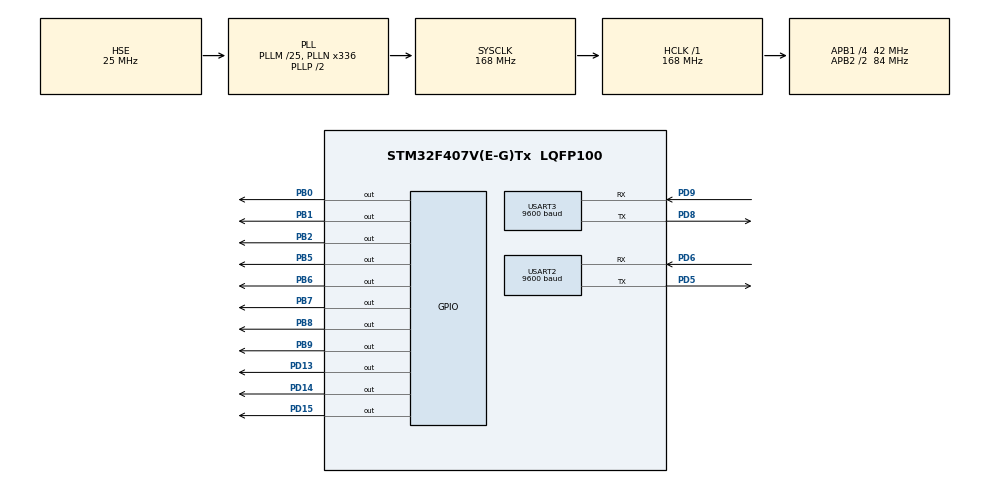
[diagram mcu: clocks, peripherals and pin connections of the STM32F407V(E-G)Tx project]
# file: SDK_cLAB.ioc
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Mcu.Family=STM32F4
NVIC.USART3_IRQn=true\:0\:0\:false\:false\:true\:true\:true
RCC.PLLSourceVirtual=RCC_PLLSOURCE_HSE
PH0-OSC_IN.Signal=RCC_OSC_IN
RCC.CortexFreq_Value=168000000
PD15.GPIO_Speed=GPIO_SPEED_FREQ_HIGH
VP_IWDG_VS_IWDG.Mode=IWDG_Activate
PD9.Signal=USART3_RX
PD5.Signal=USART2_TX
RCC.APB1CLKDivider=RCC_HCLK_DIV4
PD6.Mode=Asynchronous
PD9.Mode=Asynchronous
NVIC.USART2_IRQn=true\:0\:0\:false\:false\:true\:true\:true
USART2.BaudRate=9600
RCC.SYSCLKSource=RCC_SYSCLKSOURCE_PLLCLK
ProjectManager.StackSize=0x400
PD13.Signal=GPIO_Output
PA13.Signal=SYS_JTMS-SWDIO
PD14.GPIO_Speed=GPIO_SPEED_FREQ_HIGH
USART3.BaudRate=9600
ProjectManager.TargetToolchain=STM32CubeIDE
RCC.HCLKFreq_Value=168000000
RCC.APB2TimFreq_Value=168000000
PB6.Signal=GPIO_Output
PD8.Signal=USART3_TX
RCC.LSE_VALUE=32768
PD8.Mode=Asynchronous
RCC.AHBFreq_Value=168000000
PH0-OSC_IN.Mode=HSE-External-Oscillator
PD5.Mode=Asynchronous
RCC.HSE_VALUE=25000000
PD14.PinState=GPIO_PIN_RESET
PB2.Signal=GPIO_Output
PB3.Mode=JTAG_5_pins
board=custom
PD13.GPIO_Speed=GPIO_SPEED_FREQ_HIGH
RCC.VCOOutputFreq_Value=336000000
PA15.Mode=JTAG_5_pins
RCC.APB2Freq_Value=84000000
PB4.Mode=JTAG_5_pins
PA14.Mode=JTAG_5_pins
PH1-OSC_OUT.Signal=RCC_OSC_OUT
PB7.Signal=GPIO_Output
PA13.Mode=JTAG_5_pins
Mcu.Name=STM32F407V(E-G)Tx
PD14.Signal=GPIO_Output
PH1-OSC_OUT.Mode=HSE-External-Oscillator
RCC.48MHZClocksFreq_Value=84000000
PB3.Signal=SYS_JTDO-SWO
RCC.SYSCLKFreq_VALUE=168000000
Mcu.Package=LQFP100
PB5.Signal=GPIO_Output
PB9.Signal=GPIO_Output
PB1.Signal=GPIO_Output
USART2.VirtualMode=VM_ASYNC
USART3.VirtualMode=VM_ASYNC
PA14.Signal=SYS_JTCK-SWCLK
PA15.Signal=SYS_JTDI
ProjectManager.HeapSize=0x200
RCC.HSI_VALUE=16000000
NVIC.PriorityGroup=NVIC_PRIORITYGROUP_4
RCC.APB2CLKDivider=RCC_HCLK_DIV2
RCC.PLLM=25
RCC.PLLN=336
IWDG.Prescaler=IWDG_PRESCALER_64
RCC.APB1TimFreq_Value=84000000
PB8.Signal=GPIO_Output
PD13.PinState=GPIO_PIN_RESET
PD6.Signal=USART2_RX
RCC.APB1Freq_Value=42000000
PB0.Signal=GPIO_Output
PD15.Signal=GPIO_Output
PB4.Signal=SYS_JTRST

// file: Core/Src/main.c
/* USER CODE BEGIN Header */
/**
  ******************************************************************************
  * @file           : main.c
  * @brief          : Main program body
  ******************************************************************************
  * @attention
  *
  * <h2><center>&copy; Copyright (c) 2020 STMicroelectronics.
  * All rights reserved.</center></h2>
  *
  * This software component is licensed by ST under BSD 3-Clause license,
  * the "License"; You may not use this file except in compliance with the
  * License. You may obtain a copy of the License at:
  *                        opensource.org/licenses/BSD-3-Clause
  *
  ******************************************************************************
  */
/* USER CODE END Header */
#include "main.h"
#include "iwdg.h"
#include "usart.h"
#include "gpio.h"

/* USER CODE BEGIN Includes */
#include "trace.h"
/* USER CODE END Includes */

/* USER CODE BEGIN PV */
uint8_t x = 0; // X UART2
uint8_t y = 0; // Y UART2
uint8_t transmitBuffer2[2]; // for X, Y UART2
uint8_t receiveBuffer3[2]; // for X, Y UART3
uint8_t transmitBuffer3[1];	// for function result UART3
uint8_t receiveBuffer2[1]; // for function result UART2
uint8_t readed_value_x;	// X UART3
uint8_t readed_value_y; // Y UART3
uint8_t result;	// function result UART3
uint8_t readed_result;	// function result UART2
/* USER CODE END PV */

void SystemClock_Config(void);

int main(void)
{

  /* MCU Configuration--------------------------------------------------------*/

  /* Reset of all peripherals, Initializes the Flash interface and the Systick. */
  HAL_Init();

  /* Configure the system clock */
  SystemClock_Config();

  /* Initialize all configured peripherals */
  MX_GPIO_Init();
  MX_IWDG_Init();
  MX_USART2_UART_Init();
  MX_USART3_UART_Init();
  /* USER CODE BEGIN 2 */

  /* Do not remove this code below */
  MX_TRACE_Init();
  SDK_TRACE_Start();
  /* Do not remove this code from above */

  uint8_t value_x = 4; // set X
  uint8_t value_y = 8; // set Y
  // buffer for UART2 transmit
  transmitBuffer2[0] = value_x;
  transmitBuffer2[1] = value_y;
  // buffer for UART3 receive
  receiveBuffer3[0] = 0;
  receiveBuffer3[1] = 0;
  // buffer for UART2 receive
  receiveBuffer2[0] = 0;

  SDK_TRACE_Timestamp(P0, 1);

  SDK_TRACE_Print("Value X: %d Value Y: %d", value_x, value_y);
  // Interrupt activations
  HAL_UART_Receive_IT(&huart3, receiveBuffer3, 2);
  HAL_UART_Transmit_IT(&huart2, transmitBuffer2, 2);
  //we simply wait interrupts
  HAL_Delay(100);

  SDK_TRACE_Timestamp(P0, 0);

  /* Place your code before here */
  /* Do not remove this code below */
  SDK_TRACE_Stop();
  /* Do not remove this code from above */

  /* USER CODE END 2 */

  /* Infinite loop */
  while (1)
  {

  }
}

void SystemClock_Config(void)
{
  RCC_OscInitTypeDef RCC_OscInitStruct = {0};
  RCC_ClkInitTypeDef RCC_ClkInitStruct = {0};

  /** Configure the main internal regulator output voltage
  */
  __HAL_RCC_PWR_CLK_ENABLE();
  __HAL_PWR_VOLTAGESCALING_CONFIG(PWR_REGULATOR_VOLTAGE_SCALE1);
  /** Initializes the RCC Oscillators according to the specified parameters
  * in the RCC_OscInitTypeDef structure.
  */
  RCC_OscInitStruct.OscillatorType = RCC_OSCILLATORTYPE_LSI|RCC_OSCILLATORTYPE_HSE;
  RCC_OscInitStruct.HSEState = RCC_HSE_ON;
  RCC_OscInitStruct.LSIState = RCC_LSI_ON;
  RCC_OscInitStruct.PLL.PLLState = RCC_PLL_ON;
  RCC_OscInitStruct.PLL.PLLSource = RCC_PLLSOURCE_HSE;
  RCC_OscInitStruct.PLL.PLLM = 25;
  RCC_OscInitStruct.PLL.PLLN = 336;
  RCC_OscInitStruct.PLL.PLLP = RCC_PLLP_DIV2;
  RCC_OscInitStruct.PLL.PLLQ = 4;
  if (HAL_RCC_OscConfig(&RCC_OscInitStruct) != HAL_OK)
  {
    Error_Handler();
  }
  /** Initializes the CPU, AHB and APB buses clocks
  */
  RCC_ClkInitStruct.ClockType = RCC_CLOCKTYPE_HCLK|RCC_CLOCKTYPE_SYSCLK
                              |RCC_CLOCKTYPE_PCLK1|RCC_CLOCKTYPE_PCLK2;
  RCC_ClkInitStruct.SYSCLKSource = RCC_SYSCLKSOURCE_PLLCLK;
  RCC_ClkInitStruct.AHBCLKDivider = RCC_SYSCLK_DIV1;
  RCC_ClkInitStruct.APB1CLKDivider = RCC_HCLK_DIV4;
  RCC_ClkInitStruct.APB2CLKDivider = RCC_HCLK_DIV2;

  if (HAL_RCC_ClockConfig(&RCC_ClkInitStruct, FLASH_LATENCY_5) != HAL_OK)
  {
    Error_Handler();
  }
}

/* USER CODE BEGIN 4 */

void HAL_UART_RxCpltCallback(UART_HandleTypeDef *huart)
{
          if(huart == &huart3)
          {
        	  huart_Transfer(&huart3);
          } else if (huart == &huart2)
          {
        	  huart_Transfer(&huart2);
          }
}

void huart_Transfer(UART_HandleTypeDef *huart)
{
	if (huart == &huart3)
	{
		 readed_value_x = receiveBuffer3[0];
		 readed_value_y = receiveBuffer3[1];
		 result = readed_value_x * readed_value_y;
		 SDK_TRACE_Print("(UART3) X : %d", readed_value_x);
		 SDK_TRACE_Print("(UART3) Y : %d", readed_value_y);
		 SDK_TRACE_Print("(UART3) X*Y : %d", result);
		 transmitBuffer3[0] = result;
		 // our data is ready so we allow the reverse transfer
		 HAL_UART_Receive_IT(&huart2, receiveBuffer2, 1);
		 HAL_UART_Transmit_IT(&huart3, transmitBuffer3, 1);
	} else if (huart == &huart2)
	{
	 	 readed_result = receiveBuffer2[0];
		 SDK_TRACE_Print("(UART2) X*Y : %d", readed_result);
	}
}
/* USER CODE END 4 */

void Error_Handler(void)
{
}

/************************ (C) COPYRIGHT STMicroelectronics *****END OF FILE****/
